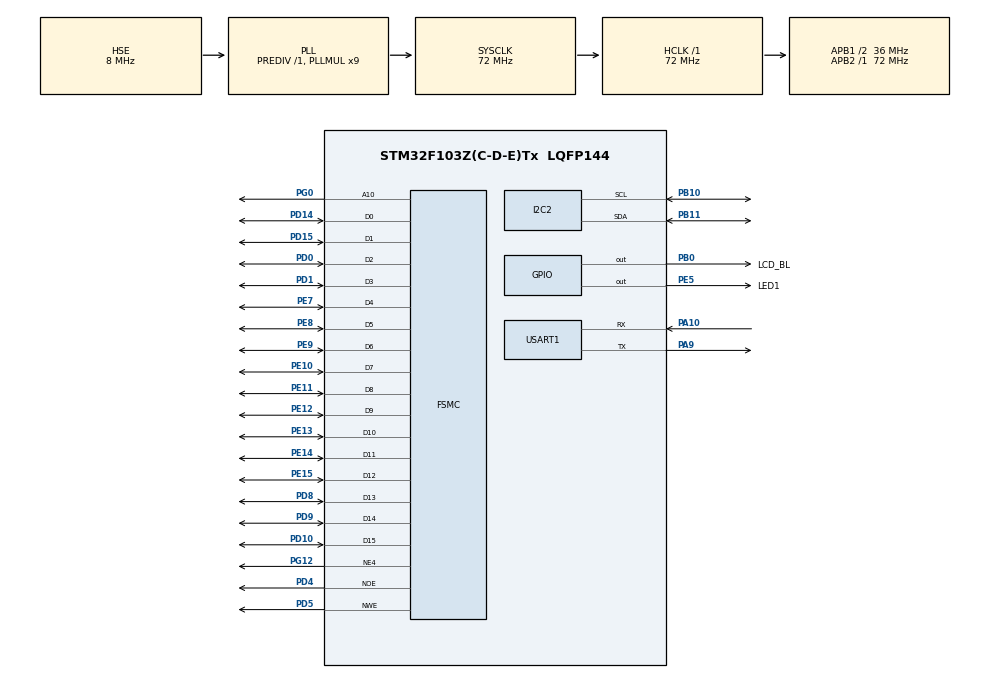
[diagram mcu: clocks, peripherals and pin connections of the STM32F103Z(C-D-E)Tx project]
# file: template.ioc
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Mcu.Family=STM32F1
FSMC.AddressSetupTime1=1
SH.FSMC_D1_DA1.0=FSMC_D1,16b-d1
PB10.Mode=I2C
SH.FSMC_NWE.0=FSMC_NWE,Lcd1
PG0.Signal=FSMC_A10
SH.FSMC_D0_DA0.0=FSMC_D0,16b-d1
PB0.GPIO_Label=LCD_BL
PB11.Signal=I2C2_SDA
RCC.SYSCLKSource=RCC_SYSCLKSOURCE_PLLCLK
ProjectManager.StackSize=0x400
RCC.HCLKFreq_Value=72000000
PD4.Signal=FSMC_NOE
RCC.APB2TimFreq_Value=72000000
PD0.Signal=FSMC_D2_DA2
PD8.Signal=FSMC_D13_DA13
PE5.Signal=GPIO_Output
OSC_OUT.Mode=HSE-External-Oscillator
SH.FSMC_A10.0=FSMC_A10,A10_1
OSC_OUT.Signal=RCC_OSC_OUT
RCC.AHBFreq_Value=72000000
RCC.PLLMUL=RCC_PLL_MUL9
PE13.Signal=FSMC_D10_DA10
SH.FSMC_D14_DA14.0=FSMC_D14,16b-d1
PC14-OSC32_IN.Mode=LSE-External-Oscillator
SH.FSMC_D10_DA10.0=FSMC_D10,16b-d1
PE9.Signal=FSMC_D6_DA6
PA14.Mode=Serial_Wire
SH.FSMC_D6_DA6.0=FSMC_D6,16b-d1
FSMC.BusTurnAroundDuration1=15
PE10.Signal=FSMC_D7_DA7
SH.FSMC_D5_DA5.0=FSMC_D5,16b-d1
SH.FSMC_D4_DA4.0=FSMC_D4,16b-d1
Mcu.Package=LQFP144
SH.FSMC_D13_DA13.0=FSMC_D13,16b-d1
PA10.Signal=USART1_RX
SH.FSMC_D3_DA3.0=FSMC_D3,16b-d1
RCC.APB1TimFreq_Value=72000000
SH.FSMC_D2_DA2.0=FSMC_D2,16b-d1
PE7.Signal=FSMC_D4_DA4
PD15.Signal=FSMC_D1_DA1
PG12.Signal=FSMC_NE4
RCC.PLLSourceVirtual=RCC_PLLSOURCE_HSE
FSMC.ExtendedAddressSetupTime1=0
PC15-OSC32_OUT.Mode=LSE-External-Oscillator
SH.FSMC_D12_DA12.0=FSMC_D12,16b-d1
PA10.Mode=Asynchronous
FSMC.ExtendedMode1=FSMC_EXTENDED_MODE_ENABLE
PD1.Signal=FSMC_D3_DA3
SH.FSMC_D9_DA9.0=FSMC_D9,16b-d1
PD9.Signal=FSMC_D14_DA14
PD5.Signal=FSMC_NWE
RCC.APB1CLKDivider=RCC_HCLK_DIV2
PC14-OSC32_IN.Signal=RCC_OSC32_IN
SH.FSMC_D8_DA8.0=FSMC_D8,16b-d1
PD10.Signal=FSMC_D15_DA15
PA13.Signal=SYS_JTMS-SWDIO
PA9.Mode=Asynchronous
PB11.Mode=I2C
ProjectManager.TargetToolchain=Makefile
FSMC.DataSetupTime1=2
PA9.Signal=USART1_TX
OSC_IN.Signal=RCC_OSC_IN
RCC.USBFreq_Value=72000000
PE11.Signal=FSMC_D8_DA8
PC15-OSC32_OUT.Signal=RCC_OSC32_OUT
PB10.Signal=I2C2_SCL
SH.FSMC_D7_DA7.0=FSMC_D7,16b-d1
FSMC.ExtendedDataSetupTime1=2
board=custom
PG12.Mode=NorPsramChipSelect4_1
RCC.APB2Freq_Value=72000000
PE14.Signal=FSMC_D11_DA11
PE15.Signal=FSMC_D12_DA12
PE8.Signal=FSMC_D5_DA5
PA13.Mode=Serial_Wire
Mcu.Name=STM32F103Z(C-D-E)Tx
PE12.Signal=FSMC_D9_DA9
PD14.Signal=FSMC_D0_DA0
RCC.SYSCLKFreq_VALUE=72000000
OSC_IN.Mode=HSE-External-Oscillator
PE5.GPIO_Label=LED1
USART1.VirtualMode=VM_ASYNC
SH.FSMC_D15_DA15.0=FSMC_D15,16b-d1
PA14.Signal=SYS_JTCK-SWCLK
ProjectManager.HeapSize=0x200
SH.FSMC_D11_DA11.0=FSMC_D11,16b-d1
SH.FSMC_NOE.0=FSMC_NOE,Lcd1
NVIC.PriorityGroup=NVIC_PRIORITYGROUP_4
RCC.APB1Freq_Value=36000000
PB0.Signal=GPIO_Output

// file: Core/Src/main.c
/* USER CODE BEGIN Header */
/**
  ******************************************************************************
  * @file           : main.c
  * @brief          : Main program body
  ******************************************************************************
  * @attention
  *
  * <h2><center>&copy; Copyright (c) 2021 STMicroelectronics.
  * All rights reserved.</center></h2>
  *
  * This software component is licensed by ST under BSD 3-Clause license,
  * the "License"; You may not use this file except in compliance with the
  * License. You may obtain a copy of the License at:
  *                        opensource.org/licenses/BSD-3-Clause
  *
  ******************************************************************************
  */
/* USER CODE END Header */
#include "main.h"
#include "i2c.h"
#include "usart.h"
#include "gpio.h"
#include "fsmc.h"

/* USER CODE BEGIN Includes */
#include <stdio.h>
#include <string.h>
#include "LCD.h"
#include "GT9147.h"
/* USER CODE END Includes */

void SystemClock_Config(void);
/* USER CODE BEGIN PFP */
void touchdev_test(void)
{
	uint8_t t=0;
	uint8_t i=0;
 	uint16_t lastpos[5][2];		//最后一次的数据
	while(1)
	{
		touchdev.scan(0);
		for(t=0;t<5;t++)
		{
			if((touchdev.sta)&(1<<t))
			{
                //printf("X坐标:%d,Y坐标:%d\r\n",touchdev.x[0],touchdev.y[0]);
				if(touchdev.x[t]<lcddev.width&&touchdev.y[t]<lcddev.height)
				{
					printf("x:%d y:%d\r\n",touchdev.x[0],touchdev.y[0]);
				}
			}else lastpos[t][0]=0XFFFF;
		}
		HAL_Delay(5);
	}
}
/* USER CODE END PFP */

int main(void)
{

  /* MCU Configuration--------------------------------------------------------*/

  /* Reset of all peripherals, Initializes the Flash interface and the Systick. */
  HAL_Init();

  /* Configure the system clock */
  SystemClock_Config();

  /* Initialize all configured peripherals */
  MX_GPIO_Init();
  MX_FSMC_Init();
  MX_USART1_UART_Init();
  MX_I2C2_Init();
  /* USER CODE BEGIN 2 */
  HAL_GPIO_WritePin(LCD_BL_GPIO_Port,LCD_BL_Pin,GPIO_PIN_SET);
  LCD_Init();
  LCD_Display_Dir(0);
  LCD_Clear(WHITE);
  POINT_COLOR=WHITE;
  BACK_COLOR=BLACK;
  touchdev.init();
  /* USER CODE END 2 */

  /* Infinite loop */
  /* USER CODE BEGIN WHILE */
  while (1)
  {
    HAL_Delay(1500);
    HAL_GPIO_TogglePin(LED1_GPIO_Port,LED1_Pin);
    if(touchdev.touchtype&0X80)touchdev_test();
    /* USER CODE END WHILE */

  }
}

void SystemClock_Config(void)
{
  RCC_OscInitTypeDef RCC_OscInitStruct = {0};
  RCC_ClkInitTypeDef RCC_ClkInitStruct = {0};

  /** Initializes the RCC Oscillators according to the specified parameters
  * in the RCC_OscInitTypeDef structure.
  */
  RCC_OscInitStruct.OscillatorType = RCC_OSCILLATORTYPE_HSE;
  RCC_OscInitStruct.HSEState = RCC_HSE_ON;
  RCC_OscInitStruct.HSEPredivValue = RCC_HSE_PREDIV_DIV1;
  RCC_OscInitStruct.HSIState = RCC_HSI_ON;
  RCC_OscInitStruct.PLL.PLLState = RCC_PLL_ON;
  RCC_OscInitStruct.PLL.PLLSource = RCC_PLLSOURCE_HSE;
  RCC_OscInitStruct.PLL.PLLMUL = RCC_PLL_MUL9;
  if (HAL_RCC_OscConfig(&RCC_OscInitStruct) != HAL_OK)
  {
    Error_Handler();
  }
  /** Initializes the CPU, AHB and APB buses clocks
  */
  RCC_ClkInitStruct.ClockType = RCC_CLOCKTYPE_HCLK|RCC_CLOCKTYPE_SYSCLK
                              |RCC_CLOCKTYPE_PCLK1|RCC_CLOCKTYPE_PCLK2;
  RCC_ClkInitStruct.SYSCLKSource = RCC_SYSCLKSOURCE_PLLCLK;
  RCC_ClkInitStruct.AHBCLKDivider = RCC_SYSCLK_DIV1;
  RCC_ClkInitStruct.APB1CLKDivider = RCC_HCLK_DIV2;
  RCC_ClkInitStruct.APB2CLKDivider = RCC_HCLK_DIV1;

  if (HAL_RCC_ClockConfig(&RCC_ClkInitStruct, FLASH_LATENCY_2) != HAL_OK)
  {
    Error_Handler();
  }
}

void Error_Handler(void)
{
  __disable_irq();
  while (1)
  {
  }
}

/************************ (C) COPYRIGHT STMicroelectronics *****END OF FILE****/
